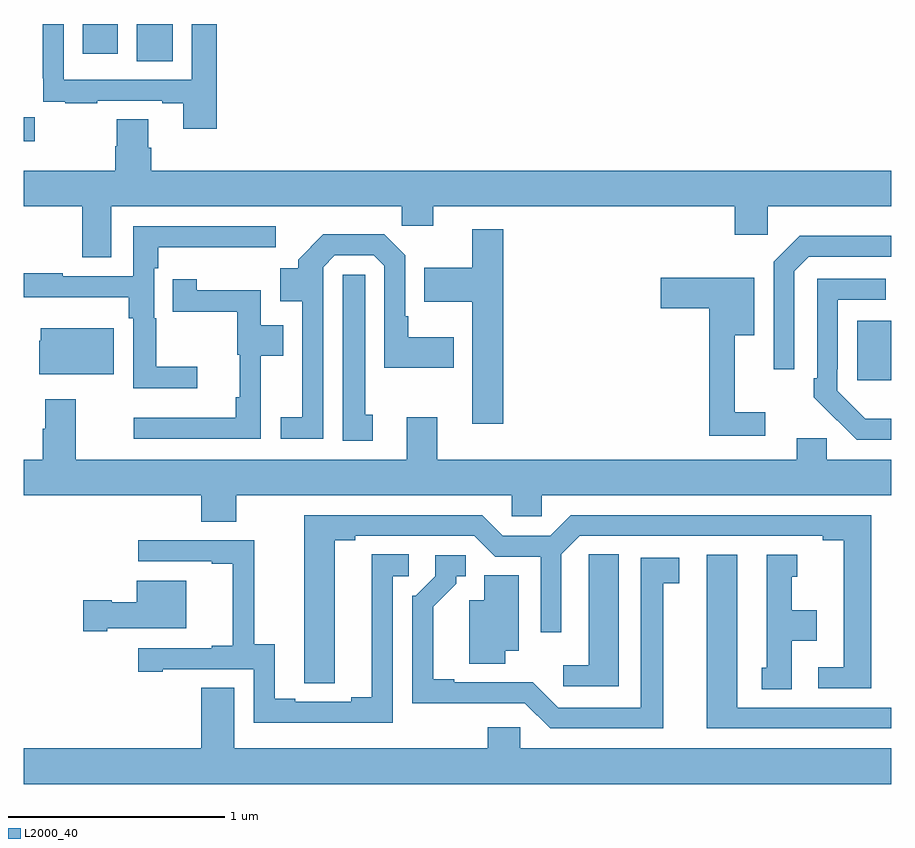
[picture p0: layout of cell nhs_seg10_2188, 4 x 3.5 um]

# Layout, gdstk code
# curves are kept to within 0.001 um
import gdstk
lib = gdstk.Library(unit=1e-6, precision=1e-09)
def R(c, l, rs):  # rectangles x0, y0, x1, y1
    for r in rs: c.add(gdstk.rectangle(r[:2], r[2:], *l))
def P(c, l, *ps):  # polygons
    for p in ps: c.add(gdstk.Polygon(p, *l))
L2000_40 = (2000, 40)

nhs_seg10_2188 = lib.new_cell('nhs_seg10_2188')
R(nhs_seg10_2188, L2000_40, [(230.843,1288.857,231,1289.131), (227,1289.96,227.05,1290.07), (227.522,1290.328,227.686,1290.5), (227.273,1290.363,227.434,1290.5)])
P(nhs_seg10_2188, L2000_40, [(227.891,1290.5),(227.775,1290.5),(227.775,1290.243),(227.184,1290.243),(227.184,1290.5),(227.088,1290.5),(227.088,1290.25),(227.089,1290.25),(227.089,1290.141),(227.191,1290.141),(227.191,1290.135),(227.339,1290.135),(227.339,1290.147),(227.639,1290.147),(227.639,1290.135),(227.735,1290.135),(227.735,1290.018),(227.891,1290.018)],
  [(227.404,1289.66),(228.742,1289.66),(228.742,1289.57),(228.889,1289.57),(228.889,1289.66),(230.279,1289.66),(230.279,1289.529),(230.43,1289.529),(230.43,1289.66),(231,1289.66),(231,1289.824),(227.588,1289.824),(227.588,1289.93),(227.575,1289.93),(227.575,1290.062),(227.428,1290.062),(227.428,1289.937),(227.423,1289.937),(227.423,1289.824),(227,1289.824),(227,1289.66),(227.269,1289.66),(227.269,1289.424),(227.404,1289.424)],
  [(227.8,1288.92),(227.611,1288.92),(227.611,1289.144),(227.601,1289.144),(227.601,1289.375),(227.621,1289.375),(227.621,1289.471),(228.163,1289.471),(228.163,1289.568),(227.505,1289.568),(227.505,1289.337),(227.18,1289.337),(227.18,1289.35),(227,1289.35),(227,1289.24),(227.485,1289.24),(227.485,1289.144),(227.505,1289.144),(227.505,1288.82),(227.8,1288.82)],
  [(229.211,1289.554),(229.067,1289.554),(229.067,1289.377),(228.846,1289.377),(228.846,1289.219),(229.067,1289.219),(229.067,1288.656),(229.211,1288.656)],
  [(228.381,1289.379),(228.435,1289.433),(228.615,1289.433),(228.663,1289.385),(228.663,1288.916),(228.982,1288.916),(228.982,1289.056),(228.772,1289.056),(228.772,1289.152),(228.759,1289.152),(228.759,1289.433),(228.662,1289.53),(228.382,1289.53),(228.265,1289.413),(228.265,1289.374),(228.182,1289.374),(228.182,1289.222),(228.285,1289.222),(228.285,1288.688),(228.186,1288.688),(228.186,1288.587),(228.381,1288.587)],
  [(230.553,1289.361),(230.619,1289.427),(231,1289.427),(231,1289.524),(230.578,1289.524),(230.457,1289.403),(230.457,1288.908),(230.553,1288.908)],
  [(228.61,1288.698),(228.574,1288.698),(228.574,1289.343),(228.47,1289.343),(228.47,1288.578),(228.61,1288.578)],
  [(230.419,1288.711),(230.279,1288.711),(230.279,1289.066),(230.368,1289.066),(230.368,1289.331),(229.938,1289.331),(229.938,1289.189),(230.161,1289.189),(230.161,1288.602),(230.419,1288.602)],
  [(231,1288.68),(230.88,1288.681),(230.751,1288.809),(230.751,1288.909),(230.754,1288.909),(230.754,1289.229),(230.974,1289.229),(230.974,1289.325),(230.658,1289.325),(230.658,1288.867),(230.643,1288.867),(230.643,1288.779),(230.84,1288.584),(231,1288.584)],
  [(228.093,1288.97),(228.196,1288.97),(228.196,1289.11),(228.093,1289.11),(228.093,1289.273),(227.797,1289.273),(227.797,1289.323),(227.686,1289.323),(227.686,1289.174),(227.985,1289.174),(227.985,1288.974),(227.996,1288.974),(227.996,1288.78),(227.977,1288.78),(227.977,1288.684),(227.508,1288.684),(227.508,1288.587),(228.093,1288.587)],
  [(227.416,1289.098),(227.078,1289.098),(227.078,1289.04),(227.072,1289.04),(227.072,1288.886),(227.416,1288.886)],
  [(227.099,1288.771),(227.099,1288.634),(227.087,1288.634),(227.087,1288.492),(227,1288.492),(227,1288.328),(227.819,1288.328),(227.819,1288.204),(227.979,1288.204),(227.979,1288.328),(229.251,1288.328),(229.251,1288.23),(229.389,1288.23),(229.389,1288.328),(231,1288.328),(231,1288.492),(230.703,1288.492),(230.703,1288.59),(230.564,1288.59),(230.564,1288.492),(228.907,1288.492),(228.907,1288.687),(228.767,1288.687),(228.767,1288.492),(227.239,1288.492),(227.239,1288.771)],
  [(230.908,1288.236),(229.523,1288.236),(229.427,1288.14),(229.209,1288.14),(229.113,1288.236),(228.293,1288.236),(228.294,1287.46),(228.433,1287.46),(228.433,1288.12),(228.529,1288.12),(228.529,1288.14),(229.077,1288.14),(229.173,1288.044),(229.383,1288.044),(229.383,1287.696),(229.479,1287.696),(229.479,1288.056),(229.563,1288.14),(230.684,1288.14),(230.684,1288.12),(230.78,1288.12),(230.78,1287.534),(230.664,1287.534),(230.664,1287.438),(230.908,1287.438)],
  [(228.702,1287.954),(228.775,1287.954),(228.775,1288.055),(228.605,1288.055),(228.605,1287.395),(228.509,1287.395),(228.509,1287.375),(228.253,1287.375),(228.253,1287.39),(228.157,1287.39),(228.157,1287.641),(228.063,1287.641),(228.063,1288.119),(227.529,1288.119),(227.529,1288.023),(227.867,1288.023),(227.867,1288.011),(227.963,1288.011),(227.963,1287.634),(227.867,1287.634),(227.867,1287.621),(227.529,1287.621),(227.529,1287.513),(227.641,1287.513),(227.641,1287.525),(228.06,1287.525),(228.06,1287.279),(228.702,1287.279)],
  [(229.744,1288.055),(229.605,1288.055),(229.605,1287.947),(229.604,1287.947),(229.604,1287.544),(229.488,1287.544),(229.488,1287.447),(229.744,1287.447)],
  [(230.542,1287.656),(230.656,1287.656),(230.656,1287.796),(230.542,1287.796),(230.542,1287.951),(230.566,1287.951),(230.566,1288.054),(230.426,1288.054),(230.426,1287.531),(230.402,1287.531),(230.402,1287.433),(230.542,1287.433)],
  [(231,1287.348),(230.29,1287.348),(230.29,1288.054),(230.15,1288.054),(230.15,1287.252),(231,1287.252)],
  [(229.948,1287.922),(230.023,1287.922),(230.023,1288.038),(229.844,1288.038),(229.844,1287.348),(229.464,1287.348),(229.346,1287.466),(228.985,1287.465),(228.985,1287.478),(228.889,1287.478),(228.889,1287.814),(228.994,1287.919),(228.994,1287.954),(229.039,1287.954),(229.039,1288.05),(228.897,1288.05),(228.897,1287.954),(228.807,1287.864),(228.792,1287.864),(228.792,1287.368),(229.311,1287.369),(229.428,1287.252),(229.948,1287.252)],
  [(229.219,1287.611),(229.282,1287.611),(229.282,1287.959),(229.124,1287.959),(229.124,1287.844),(229.055,1287.844),(229.055,1287.55),(229.219,1287.55)],
  [(227.386,1287.713),(227.749,1287.713),(227.749,1287.934),(227.522,1287.934),(227.522,1287.835),(227.406,1287.835),(227.406,1287.843),(227.274,1287.843),(227.274,1287.701),(227.386,1287.701)],
  [(231,1287.16),(229.29,1287.16),(229.29,1287.258),(229.139,1287.258),(229.139,1287.16),(227.971,1287.16),(227.971,1287.44),(227.819,1287.44),(227.819,1287.16),(227,1287.16),(227,1286.996),(231,1286.996)])

lib.write_gds('nhs_seg10_2188.gds')
